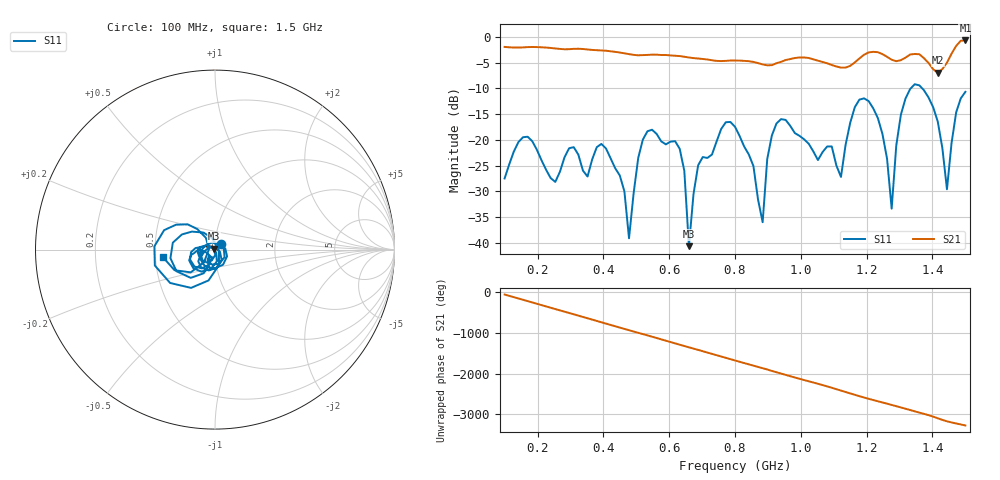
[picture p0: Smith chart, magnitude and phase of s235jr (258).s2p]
! NanoVNA-App
! Date: 2025-09-25 15:06:10
! Start: 100MHz Stop: 1,5GHz Points: 101
! S-Parameter data: F S11 S21 S12 S22
# Hz S RI R 50
!  Frequency  S11_Real  S11_Imag  S21_Real  S21_Imag  S12_Real  S12_Imag  S22_Real  S22_Imag
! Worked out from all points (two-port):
!   101 points, 100 MHz to 1.5 GHz, reference 50 ohm
!   highest |S21| = -0.71 dB at 1.5 GHz (marker M1); lowest = -7.0 dB at 1.416 GHz (marker M2)
!   |S21| within 3 dB of the highest: start of sweep to 625.9 MHz; 1.188 GHz to 1.257 GHz (69.78 MHz wide, 5.71 % of centre) (the widest 2 of 4)
!   lowest |S11| = -40.6 dB at 660 MHz (marker M3), VSWR 1.02, Z = 49.2 + j0.537 ohm
!   |S11| at or under -10 dB: start of sweep to 1.334 GHz; 1.369 GHz to end of sweep
!   S12 and S22 are empty: the file has one direction only
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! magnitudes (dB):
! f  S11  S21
! 100 MHz  -27.5  -2.0
! 170 MHz  -19.4  -2.0
! 338 MHz  -26.0  -2.4
! 408 MHz  -21.7  -2.7
! 478 MHz  -39.1  -3.4
! 520 MHz  -19.9  -3.6
! 576 MHz  -20.3  -3.5
! 632 MHz  -21.7  -3.7
! 660 MHz  -40.6  -4.0
! 688 MHz  -24.9  -4.2
! 800 MHz  -17.5  -4.6
! 884 MHz  -36.0  -5.4
! 926 MHz  -16.8  -5.1
! 1.038 GHz  -22.2  -4.4
! 1.122 GHz  -27.2  -6.0
! 1.206 GHz  -12.5  -3.0
! 1.276 GHz  -33.3  -4.4
! 1.304 GHz  -15.1  -4.5
! 1.332 GHz  -10.1  -3.4
! 1.416 GHz  -16.4  -7.0
! 1.444 GHz  -29.6  -5.0
! 1.5 GHz  -10.7  -0.7
